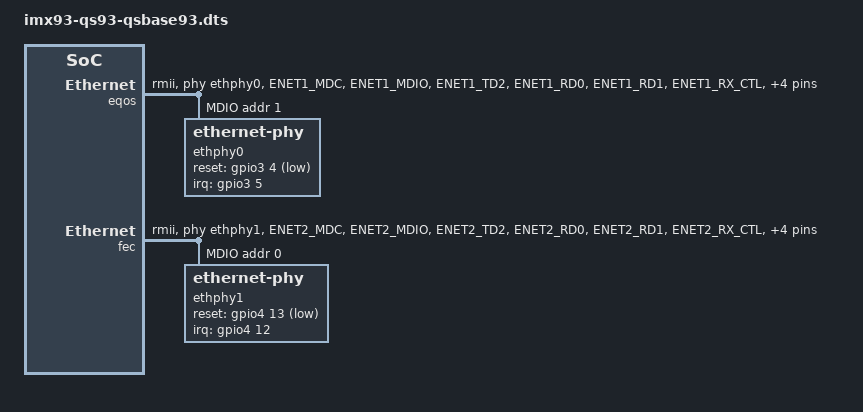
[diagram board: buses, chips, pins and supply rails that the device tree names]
// SPDX-License-Identifier: (GPL-2.0 OR MIT)
/*
 * Copyright 2023 Lothar Waßmann <LW@KARO-electronics.de>
 *
 */

/dts-v1/;

/plugin/;

#include <dt-bindings/clock/imx93-clock.h>
#include <dt-bindings/gpio/gpio.h>
#include <dt-bindings/interrupt-controller/irq.h>
#include "imx93-pinfunc.h"

#define EQOS_PHY_RST	3
#define FEC_PHY_RST	3

&{/} {
	chosen {
		overlays {
			qs93-qsbase93;
		};
	};
};

&eqos {
	pinctrl-names = "default";
#if EQOS_PHY_RST == 1
	pinctrl-0 = <&pinctrl_eqos_rmii &pinctrl_ethphy0_rst>;
	snps,reset-gpios = <&gpio3 4 GPIO_ACTIVE_LOW>;
	snps,reset-delays-us = <0 25000 100>;
	mdio_rst_after_resume;
#else
	pinctrl-0 = <&pinctrl_eqos_rmii>;
#endif
	assigned-clock-rates = <100000000 50000000>;
	phy-handle = <&ethphy0>;
	phy-mode = "rmii";

	mdio {
#if EQOS_PHY_RST == 2
		pinctrl-names = "default";
		pinctrl-0 = <&pinctrl_ethphy0_rst>;
		reset-gpios = <&gpio3 4 GPIO_ACTIVE_LOW>;
		reset-delay-us = <25000>;
		reset-post-delay-us = <100>;
#endif
		ethphy0: ethernet-phy@1 {
			reg = <1>;
			pinctrl-names = "default";
#if EQOS_PHY_RST == 3
			pinctrl-0 = <&pinctrl_ethphy0_int &pinctrl_ethphy0_rst>;
			reset-gpios = <&gpio3 4 GPIO_ACTIVE_LOW>;
			reset-delay-us = <25000>;
			reset-post-delay-us = <100>;
#else
			pinctrl-0 = <&pinctrl_ethphy0_int>;
#endif
			interrupt-parent = <&gpio3>;
			interrupts = <5 IRQ_TYPE_EDGE_FALLING>;
			clocks = <&clk IMX93_CLK_ENET_QOS_GATE>;
			eee-broken-100tx;
			smsc,disable-energy-detect;
		};
	};
};

&fec {
	pinctrl-names = "default";
#if FEC_PHY_RST == 1
	pinctrl-0 = <&pinctrl_fec_rmii &pinctrl_ethphy1_rst>;
	phy-reset-gpios = <&gpio4 13 GPIO_ACTIVE_LOW>;
	phy-reset-duration = <25>;
	phy-reset-post-delay = <1>;
#else
	pinctrl-0 = <&pinctrl_fec_rmii>;
#endif
	assigned-clock-rates = <100000000 50000000 50000000>;
	phy-handle = <&ethphy1>;
	phy-mode = "rmii";
	mdio {
#if FEC_PHY_RST == 2
		pinctrl-names = "default";
		pinctrl-0 = <&pinctrl_ethphy1_rst>;
		reset-gpios = <&gpio4 13 GPIO_ACTIVE_LOW>;
		reset-delay-us = <25000>;
		reset-post-delay-us = <100>;
#endif
		ethphy1: ethernet-phy@0 {
			reg = <0>;
			pinctrl-names = "default";
#if FEC_PHY_RST == 3
			pinctrl-0 = <&pinctrl_ethphy1_int &pinctrl_ethphy1_rst>;
			reset-gpios = <&gpio4 13 GPIO_ACTIVE_LOW>;
			reset-delay-us = <25000>;
			reset-post-delay-us = <100>;
#else
			pinctrl-0 = <&pinctrl_ethphy1_int>;
#endif
			clocks = <&clk IMX93_CLK_ENET_REF_PHY>;
			interrupt-parent = <&gpio4>;
			interrupts = <12 IRQ_TYPE_EDGE_FALLING>;
			eee-broken-100tx;
			smsc,disable-energy-detect;
		};
	};
};

&panel {
	data-mapping = "vesa-24";
};

&iomuxc {
	pinctrl_eqos_rmii: eqos-rmiigrp {
		fsl,pins = <
			MX93_PAD_ENET1_MDC__ENET_QOS_MDC			0x51e
			MX93_PAD_ENET1_MDIO__ENET_QOS_MDIO			0x11e
			MX93_PAD_ENET1_TD2__CCM_ENET_QOS_CLOCK_GENERATE_REF_CLK	0x4000011e
			/* Strap pins: HIGH: 0x3.. LOW: 0x5.. */
			/* MODE[0..1] */
			MX93_PAD_ENET1_RD0__ENET_QOS_RGMII_RD0			0x300
			MX93_PAD_ENET1_RD1__ENET_QOS_RGMII_RD1			0x300
			/* MODE2 (external pullup) */
			MX93_PAD_ENET1_RX_CTL__ENET_QOS_RGMII_RX_CTL		0x300
			/* PHYAD0 */
			MX93_PAD_ENET1_RXC__ENET_QOS_RX_ER			0x300

			MX93_PAD_ENET1_TD0__ENET_QOS_RGMII_TD0			0x51e
			MX93_PAD_ENET1_TD1__ENET_QOS_RGMII_TD1			0x51e
			MX93_PAD_ENET1_TX_CTL__ENET_QOS_RGMII_TX_CTL		0x51e
		>;
	};

	pinctrl_ethphy0_int: ethphy0-intgrp {
		fsl,pins = <
			MX93_PAD_SD2_DATA2__GPIO3_IO05				0x300
		>;
	};

	pinctrl_ethphy0_rst: ethphy0-rstgrp {
		fsl,pins = <
			MX93_PAD_SD2_DATA1__GPIO3_IO04				0x11e
		>;
	};

	pinctrl_ethphy1_int: ethphy1-intgrp {
		fsl,pins = <
			MX93_PAD_ENET1_RD2__GPIO4_IO12				0x300
		>;
	};

	pinctrl_ethphy1_rst: ethphy1-rstgrp {
		fsl,pins = <
			MX93_PAD_ENET1_RD3__GPIO4_IO13				0x11e
		>;
	};

	pinctrl_fec_rmii: fec-rmiigrp {
		fsl,pins = <
			MX93_PAD_ENET2_MDC__ENET1_MDC				0x51e
			MX93_PAD_ENET2_MDIO__ENET1_MDIO				0x11e
#ifndef PHY_CLK_EXT
			MX93_PAD_ENET2_TD2__ENET1_TX_CLK			0x4000011e
#endif
			/* Strap pins: MODE[0..1] */
			MX93_PAD_ENET2_RD0__ENET1_RGMII_RD0			0x300
			MX93_PAD_ENET2_RD1__ENET1_RGMII_RD1			0x300
			/* MODE2 (external pullup) */
			MX93_PAD_ENET2_RX_CTL__ENET1_RGMII_RX_CTL		0x300
			/* PHYAD0 */
			MX93_PAD_ENET2_RXC__ENET1_RX_ER				0x500

			MX93_PAD_ENET2_TD0__ENET1_RGMII_TD0			0x51e
			MX93_PAD_ENET2_TD1__ENET1_RGMII_TD1			0x51e
			MX93_PAD_ENET2_TX_CTL__ENET1_RGMII_TX_CTL		0x51e
		>;
	};
};
